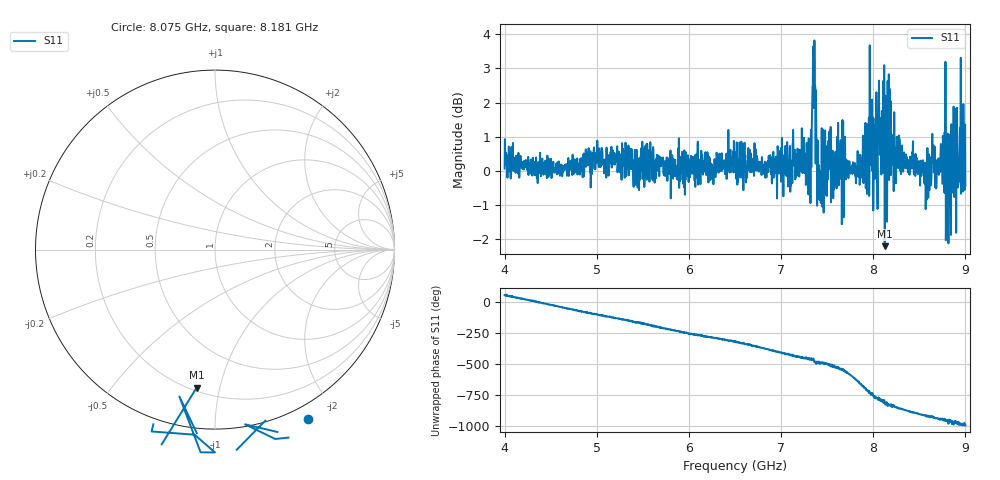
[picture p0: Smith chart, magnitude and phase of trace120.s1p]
! Created with skrf 1.8.0 (http://scikit-rf.org).
# Hz S RI R 50.0
!freq ReS11 ImS11
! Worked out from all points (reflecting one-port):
!   1601 points, 4 GHz to 9 GHz, reference 50 ohm
!   lowest |S11| = -2.2 dB at 8.125 GHz (marker M1), VSWR 7.91, Z = 11 - j42.6 ohm
!   phase of S11 starts at 52 deg and turns -1049 deg over the sweep
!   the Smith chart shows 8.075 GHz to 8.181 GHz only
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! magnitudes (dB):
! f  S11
! 4 GHz  0.1
! 4.625 GHz  -0.2
! 5.25 GHz  0.0
! 5.875 GHz  -0.1
! 6.5 GHz  0.5
! 7.125 GHz  0.8
! 7.294 GHz  0.3
! 7.312 GHz  0.4
! 7.356 GHz  2.7
! 7.406 GHz  -0.6
! 7.428 GHz  -0.3
! 7.512 GHz  0.9
! 7.566 GHz  -0.8
! 7.669 GHz  1.0
! 7.75 GHz  0.1
! 7.922 GHz  -0.1
! 7.962 GHz  3.7
! 8.022 GHz  -0.1
! 8.05 GHz  1.2
! 8.125 GHz  -2.2
! 8.181 GHz  1.2
! 8.216 GHz  0.6
! 8.375 GHz  0.3
! 8.553 GHz  0.0
! 8.759 GHz  0.0
! 8.841 GHz  1.0
! 8.956 GHz  0.1
! 9 GHz  -0.4
